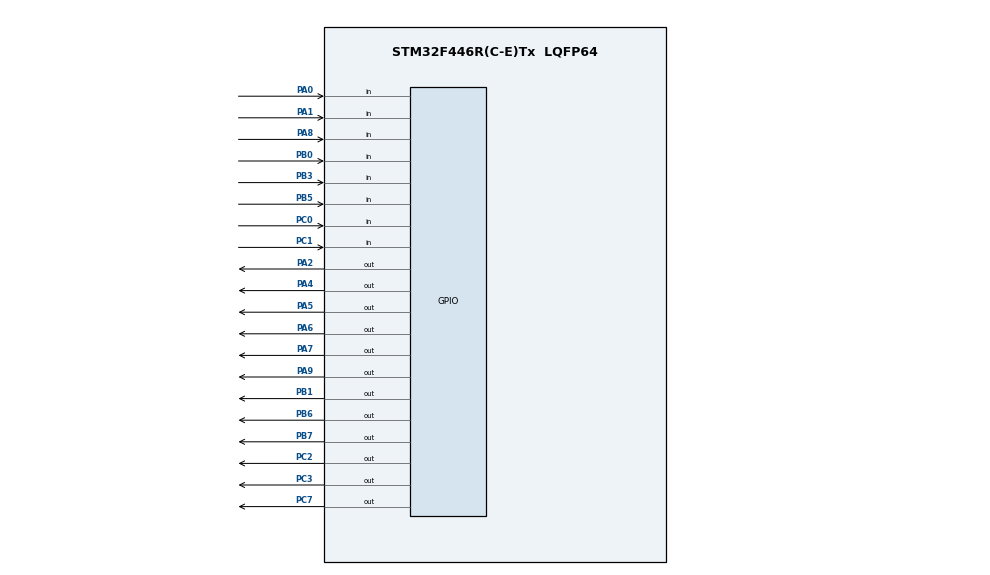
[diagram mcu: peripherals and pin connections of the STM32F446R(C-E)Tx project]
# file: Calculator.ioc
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Mcu.Family=STM32F4
Mcu.Name=STM32F446R(C-E)Tx
Mcu.Package=LQFP64
NVIC.PriorityGroup=NVIC_PRIORITYGROUP_4
NVIC.TIM2_IRQn=true\:0\:0\:false\:false\:true\:true\:true\:true
PA0-WKUP.GPIO_PuPd=GPIO_PULLUP
PA0-WKUP.Signal=GPIO_Input
PA1.GPIO_PuPd=GPIO_PULLUP
PA1.Signal=GPIO_Input
PA2.Signal=GPIO_Output
PA4.Signal=GPIO_Output
PA5.Signal=GPIO_Output
PA6.Signal=GPIO_Output
PA7.Signal=GPIO_Output
PA8.GPIO_PuPd=GPIO_PULLUP
PA8.Signal=GPIO_Input
PA9.Signal=GPIO_Output
PB0.GPIO_PuPd=GPIO_PULLUP
PB0.Signal=GPIO_Input
PB1.Signal=GPIO_Output
PB3.GPIO_PuPd=GPIO_PULLUP
PB3.Signal=GPIO_Input
PB5.GPIO_PuPd=GPIO_PULLUP
PB5.Signal=GPIO_Input
PB6.Signal=GPIO_Output
PB7.Signal=GPIO_Output
PC0.GPIO_PuPd=GPIO_PULLUP
PC0.Signal=GPIO_Input
PC1.GPIO_PuPd=GPIO_PULLUP
PC1.Signal=GPIO_Input
PC2.Signal=GPIO_Output
PC3.Signal=GPIO_Output
PC7.Signal=GPIO_Output
ProjectManager.HeapSize=0x200
ProjectManager.StackSize=0x400
ProjectManager.TargetToolchain=STM32CubeIDE
RCC.CortexFreq_Value=16000000
RCC.USBFreq_Value=96000000
RCC.VCOOutputFreq_Value=192000000
VP_TIM2_VS_ClockSourceINT.Mode=Internal
board=custom

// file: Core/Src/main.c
/* USER CODE BEGIN Header */
/* USER CODE END Header */
#include "main.h"

TIM_HandleTypeDef htim2;

void SystemClock_Config(void);
static void MX_GPIO_Init(void);
static void MX_TIM2_Init(void);

int main(void)
{

  /* USER CODE BEGIN 1 */
	char input_string[256];
	int input_index;
  /* USER CODE END 1 */

  /* MCU Configuration--------------------------------------------------------*/

  /* Reset of all peripherals, Initializes the Flash interface and the Systick. */
  HAL_Init();

  /* Configure the system clock */
  SystemClock_Config();

  /* Initialize all configured peripherals */
  MX_GPIO_Init();
  MX_TIM2_Init();
  /* USER CODE BEGIN 2 */

  HD44780U_Init();
  button_matrix_init();
  /* USER CODE END 2 */

  /* Infinite loop */
  /* USER CODE BEGIN WHILE */
  input_index = 0;
  input_string[0] = '\0';
  for(;;)
  {
	  char c = button_matrix_get_key();

	  if(input_index == 0)
	  {
		  HD44780U_Clear(); /* Clear the screen after displaying text. No effect on initial input */
	  }

	  if(c == 'd') /* Delete key */
	  {
		  if(input_index == 0)
		  {
			  continue;
		  }
		  HD44780U_Delete_At_Cursor();
		  input_index--;
		  input_string[input_index] = '\0';
	  }
	  else if(c == 'n') /* Enter key */
	  {
		  double retval;
		  int status;
		  char *input_ptr = &(input_string[0]);
		  status = parse_top(&input_ptr, &retval);
		  if(!status) /* Syntax error */
		  {
			  HD44780U_Clear();
			  if(error == SYNTAX)
			  {
				  HD44780U_Write_Line(0, "Syntax error");
			  }
			  else if(error == DIV_ZERO)
			  {
				  HD44780U_Write_Line(0, "Divide by zero");
			  }
			  else if(error == BAD_LN)
			  {
				  HD44780U_Write_Line(0, "Bad natural log (<=0)");
			  }
		  }
		  else
		  {
			  HD44780U_Write_Line(2, "                    ");
			  HD44780U_Write_Line(3, "                    ");
			  HD44780U_Write_Line(2, "Result:");
			  HD44780U_Move_Cursor(3, 0);
			  HD44780U_Write_Double(retval);
		  }

		  input_index = 0;
		  HD44780U_Move_Cursor(0, 0);
	  }
	  else if(c == 'p') /* pi */
	  {
		  HD44780U_Write_At_Cursor(247);
		  input_string[input_index] = 'p';
		  input_index++;
		  input_string[input_index] = '\0';

	  }
	  else if(c == 'e') /* e */
	  {
		  HD44780U_Write_At_Cursor('e');
		  input_string[input_index] = 'e';
		  input_index++;
		  input_string[input_index] = '\0';

	  }
	  else if(c == 'l') /* natural log, multi-character */
	  {
		  if(79 - input_index < 3)
		  {
			  continue;
		  }
		  HD44780U_Write_At_Cursor('l');
		  input_string[input_index] = 'l';
		  input_index++;
		  HD44780U_Write_At_Cursor('n');
		  input_string[input_index] = 'n';
		  input_index++;
		  HD44780U_Write_At_Cursor('(');
		  input_string[input_index] = '(';
		  input_index++;
		  input_string[input_index] = '\0';
	  }
	  else if(c == 'a') /* Ans, multi-character */
	  {
		  if(79 - input_index < 3)
		  {
			  continue;
		  }
		  HD44780U_Write_At_Cursor('A');
		  input_string[input_index] = 'A';
		  input_index++;
		  HD44780U_Write_At_Cursor('n');
		  input_string[input_index] = 'n';
		  input_index++;
		  HD44780U_Write_At_Cursor('s');
		  input_string[input_index] = 's';
		  input_index++;
		  input_string[input_index] = '\0';
	  }
	  else if(c == 's') /* sin, multi-character */
	  {
		  if(79 - input_index < 4)
		  {
			  continue;
		  }
		  HD44780U_Write_At_Cursor('s');
		  input_string[input_index] = 's';
		  input_index++;
		  HD44780U_Write_At_Cursor('i');
		  input_string[input_index] = 'i';
		  input_index++;
		  HD44780U_Write_At_Cursor('n');
		  input_string[input_index] = 'n';
		  input_index++;
		  HD44780U_Write_At_Cursor('(');
		  input_string[input_index] = '(';
		  input_index++;
		  input_string[input_index] = '\0';
	  }
	  else if(c == 'c') /* cos, multi-character */
	  {
		  if(79 - input_index < 4)
		  {
			  continue;
		  }
		  HD44780U_Write_At_Cursor('c');
		  input_string[input_index] = 'c';
		  input_index++;
		  HD44780U_Write_At_Cursor('o');
		  input_string[input_index] = 'o';
		  input_index++;
		  HD44780U_Write_At_Cursor('s');
		  input_string[input_index] = 's';
		  input_index++;
		  HD44780U_Write_At_Cursor('(');
		  input_string[input_index] = '(';
		  input_index++;
		  input_string[input_index] = '\0';
	  }
	  else if(c == '\0') /* Dead key, skip */
	  {
		  continue;
	  }
	  else /* Something else */
	  {
		  if(79 - input_index < 1)
		  {
			  continue;
		  }
		  HD44780U_Write_At_Cursor(c);
		  input_string[input_index] = c;
		  input_index++;
		  input_string[input_index] = '\0';
	  }
  }
    /* USER CODE END WHILE */

}

void SystemClock_Config(void)
{
  RCC_OscInitTypeDef RCC_OscInitStruct = {0};
  RCC_ClkInitTypeDef RCC_ClkInitStruct = {0};

  /** Configure the main internal regulator output voltage
  */
  __HAL_RCC_PWR_CLK_ENABLE();
  __HAL_PWR_VOLTAGESCALING_CONFIG(PWR_REGULATOR_VOLTAGE_SCALE3);

  /** Initializes the RCC Oscillators according to the specified parameters
  * in the RCC_OscInitTypeDef structure.
  */
  RCC_OscInitStruct.OscillatorType = RCC_OSCILLATORTYPE_HSI;
  RCC_OscInitStruct.HSIState = RCC_HSI_ON;
  RCC_OscInitStruct.HSICalibrationValue = RCC_HSICALIBRATION_DEFAULT;
  RCC_OscInitStruct.PLL.PLLState = RCC_PLL_NONE;
  if (HAL_RCC_OscConfig(&RCC_OscInitStruct) != HAL_OK)
  {
    Error_Handler();
  }

  /** Initializes the CPU, AHB and APB buses clocks
  */
  RCC_ClkInitStruct.ClockType = RCC_CLOCKTYPE_HCLK|RCC_CLOCKTYPE_SYSCLK
                              |RCC_CLOCKTYPE_PCLK1|RCC_CLOCKTYPE_PCLK2;
  RCC_ClkInitStruct.SYSCLKSource = RCC_SYSCLKSOURCE_HSI;
  RCC_ClkInitStruct.AHBCLKDivider = RCC_SYSCLK_DIV1;
  RCC_ClkInitStruct.APB1CLKDivider = RCC_HCLK_DIV1;
  RCC_ClkInitStruct.APB2CLKDivider = RCC_HCLK_DIV1;

  if (HAL_RCC_ClockConfig(&RCC_ClkInitStruct, FLASH_LATENCY_0) != HAL_OK)
  {
    Error_Handler();
  }
}

static void MX_TIM2_Init(void)
{

  TIM_ClockConfigTypeDef sClockSourceConfig = {0};
  TIM_MasterConfigTypeDef sMasterConfig = {0};

  htim2.Instance = TIM2;
  htim2.Init.Prescaler = 0;
  htim2.Init.CounterMode = TIM_COUNTERMODE_UP;
  htim2.Init.Period = 4294967295;
  htim2.Init.ClockDivision = TIM_CLOCKDIVISION_DIV1;
  htim2.Init.AutoReloadPreload = TIM_AUTORELOAD_PRELOAD_DISABLE;
  if (HAL_TIM_Base_Init(&htim2) != HAL_OK)
  {
    Error_Handler();
  }
  sClockSourceConfig.ClockSource = TIM_CLOCKSOURCE_INTERNAL;
  if (HAL_TIM_ConfigClockSource(&htim2, &sClockSourceConfig) != HAL_OK)
  {
    Error_Handler();
  }
  sMasterConfig.MasterOutputTrigger = TIM_TRGO_RESET;
  sMasterConfig.MasterSlaveMode = TIM_MASTERSLAVEMODE_DISABLE;
  if (HAL_TIMEx_MasterConfigSynchronization(&htim2, &sMasterConfig) != HAL_OK)
  {
    Error_Handler();
  }

}

static void MX_GPIO_Init(void)
{
  GPIO_InitTypeDef GPIO_InitStruct = {0};

  /* GPIO Ports Clock Enable */
  __HAL_RCC_GPIOC_CLK_ENABLE();
  __HAL_RCC_GPIOA_CLK_ENABLE();
  __HAL_RCC_GPIOB_CLK_ENABLE();

  /*Configure GPIO pin Output Level */
  HAL_GPIO_WritePin(GPIOC, GPIO_PIN_2|GPIO_PIN_3|GPIO_PIN_7, GPIO_PIN_RESET);

  /*Configure GPIO pin Output Level */
  HAL_GPIO_WritePin(GPIOA, GPIO_PIN_2|GPIO_PIN_4|GPIO_PIN_5|GPIO_PIN_6
                          |GPIO_PIN_7|GPIO_PIN_9, GPIO_PIN_RESET);

  /*Configure GPIO pin Output Level */
  HAL_GPIO_WritePin(GPIOB, GPIO_PIN_1|GPIO_PIN_6|GPIO_PIN_7, GPIO_PIN_RESET);

  /*Configure GPIO pins : PC0 PC1 */
  GPIO_InitStruct.Pin = GPIO_PIN_0|GPIO_PIN_1;
  GPIO_InitStruct.Mode = GPIO_MODE_INPUT;
  GPIO_InitStruct.Pull = GPIO_PULLUP;
  HAL_GPIO_Init(GPIOC, &GPIO_InitStruct);

  /*Configure GPIO pins : PC2 PC3 PC7 */
  GPIO_InitStruct.Pin = GPIO_PIN_2|GPIO_PIN_3|GPIO_PIN_7;
  GPIO_InitStruct.Mode = GPIO_MODE_OUTPUT_PP;
  GPIO_InitStruct.Pull = GPIO_NOPULL;
  GPIO_InitStruct.Speed = GPIO_SPEED_FREQ_LOW;
  HAL_GPIO_Init(GPIOC, &GPIO_InitStruct);

  /*Configure GPIO pins : PA0 PA1 PA8 */
  GPIO_InitStruct.Pin = GPIO_PIN_0|GPIO_PIN_1|GPIO_PIN_8;
  GPIO_InitStruct.Mode = GPIO_MODE_INPUT;
  GPIO_InitStruct.Pull = GPIO_PULLUP;
  HAL_GPIO_Init(GPIOA, &GPIO_InitStruct);

  /*Configure GPIO pins : PA2 PA4 PA5 PA6
                           PA7 PA9 */
  GPIO_InitStruct.Pin = GPIO_PIN_2|GPIO_PIN_4|GPIO_PIN_5|GPIO_PIN_6
                          |GPIO_PIN_7|GPIO_PIN_9;
  GPIO_InitStruct.Mode = GPIO_MODE_OUTPUT_PP;
  GPIO_InitStruct.Pull = GPIO_NOPULL;
  GPIO_InitStruct.Speed = GPIO_SPEED_FREQ_LOW;
  HAL_GPIO_Init(GPIOA, &GPIO_InitStruct);

  /*Configure GPIO pins : PB0 PB3 PB5 */
  GPIO_InitStruct.Pin = GPIO_PIN_0|GPIO_PIN_3|GPIO_PIN_5;
  GPIO_InitStruct.Mode = GPIO_MODE_INPUT;
  GPIO_InitStruct.Pull = GPIO_PULLUP;
  HAL_GPIO_Init(GPIOB, &GPIO_InitStruct);

  /*Configure GPIO pins : PB1 PB6 PB7 */
  GPIO_InitStruct.Pin = GPIO_PIN_1|GPIO_PIN_6|GPIO_PIN_7;
  GPIO_InitStruct.Mode = GPIO_MODE_OUTPUT_PP;
  GPIO_InitStruct.Pull = GPIO_NOPULL;
  GPIO_InitStruct.Speed = GPIO_SPEED_FREQ_LOW;
  HAL_GPIO_Init(GPIOB, &GPIO_InitStruct);

}

void Error_Handler(void)
{
}
